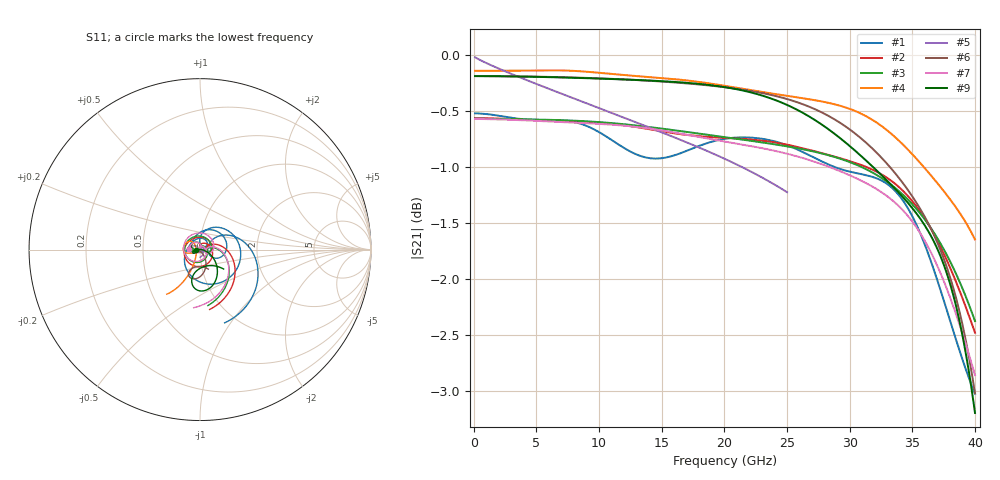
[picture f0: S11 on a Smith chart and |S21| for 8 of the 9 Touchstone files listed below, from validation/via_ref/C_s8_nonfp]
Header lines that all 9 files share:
# Hz S RI R 50
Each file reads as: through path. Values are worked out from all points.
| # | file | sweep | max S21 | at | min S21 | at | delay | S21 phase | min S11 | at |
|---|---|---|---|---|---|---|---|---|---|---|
| 1 | cst.s2p | 100 MHz to 40 GHz | -0.52 dB | 200 MHz | -3.0 dB | 40 GHz | 60.5 ps | -66 deg at 20.1 GHz | -32.2 dB | 6.4 GHz |
| 2 | cst_fine.s2p | 100 MHz to 40 GHz | -0.56 dB | 200 MHz | -2.5 dB | 40 GHz | 60.9 ps | -69 deg at 20.1 GHz | -32.7 dB | 7.3 GHz |
| 3 | kisi.s2p | 100 MHz to 40 GHz | -0.57 dB | 100 MHz | -2.4 dB | 40 GHz | 60.9 ps | -70 deg at 20.1 GHz | -41.9 dB | 8.4 GHz |
| 4 | kisi_deembedded.s2p | 100 MHz to 40 GHz | -0.13 dB | 6.1 GHz | -1.6 dB | 40 GHz | 14.2 ps | -93 deg at 20.1 GHz | -37.0 dB | 100 MHz |
| 5 | kisi_model.s2p | 100 MHz to 25 GHz | -0.02 dB | 100 MHz | -1.2 dB | 25 GHz | 58.6 ps | 96 deg at 12.6 GHz | -58.1 dB | 100 MHz |
| 6 | ladder.s2p | 100 MHz to 40 GHz | -0.18 dB | 100 MHz | -3.0 dB | 40 GHz | 16.8 ps | -95 deg at 20.1 GHz | -41.8 dB | 22.8 GHz |
| 7 | openems.s2p | 100 MHz to 40 GHz | -0.57 dB | 100 MHz | -2.9 dB | 40 GHz | 61.6 ps | -74 deg at 20.1 GHz | -42.7 dB | 8.3 GHz |
| 8 | openems_base.s2p | 100 MHz to 40 GHz | -0.57 dB | 100 MHz | -3.2 dB | 40 GHz | 62 ps | -75 deg at 20.1 GHz | -38.8 dB | 8.3 GHz |
| 9 | pbm.s2p | 100 MHz to 40 GHz | -0.19 dB | 100 MHz | -3.2 dB | 40 GHz | 16 ps | -90 deg at 20.1 GHz | -56.9 dB | 18.9 GHz |
